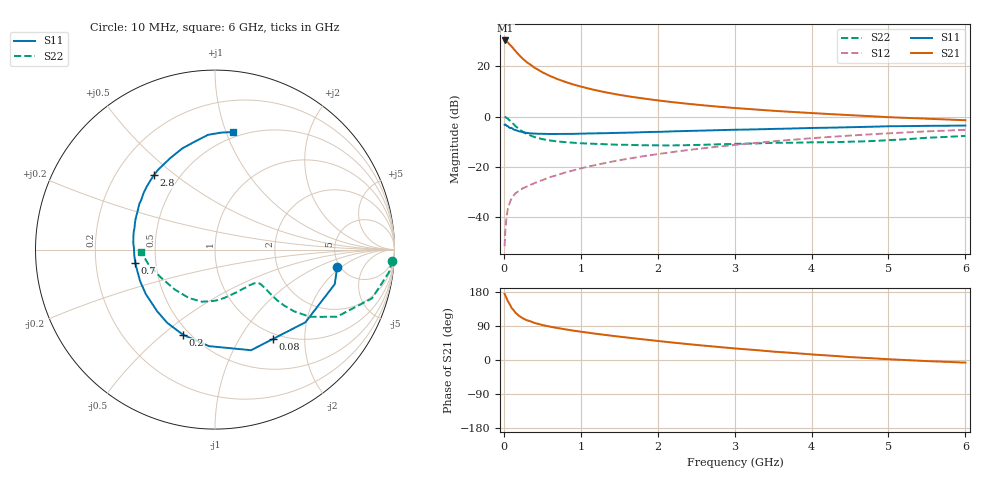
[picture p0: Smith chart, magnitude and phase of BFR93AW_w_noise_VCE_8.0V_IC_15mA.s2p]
! (c) 2017  Infineon Technologies AG, Munich
! Infineon Technologies  Discrete & RF Semiconductors
! BFR93AW
! VCE =  8.0 V,  IC =  15 mA
! Common Emitter S-Parameters:  Jan 2017
# GHz  S  MA  R  50
!  f  S11  S21  S12  S22
! GHz  MAG  ANG  MAG  ANG  MAG  ANG  MAG  ANG
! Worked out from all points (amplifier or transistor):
!   77 points, 10 MHz to 6 GHz, reference 50 ohm
!   highest |S21| = 30.4 dB at 20 MHz (marker M1)
!   |S21| within 3 dB of that: start of sweep to 118.1 MHz
!   unconditionally stable (mu >= 1): 770.5 MHz to 2.081 GHz
!   at 130 MHz: K = 0.37, MSG = 29.1 dB, |S12| = -31.4 dB
!   at 2.2 GHz: K = 0.99, MSG = 9.9 dB, |S12| = -14.1 dB
!   at 6 GHz: K = 0.86, MSG = 1.9 dB, |S12| = -5.3 dB
!   lowest NFmin = 1.37 dB at 450 MHz
!   S11 on the Smith chart (normalised r, x): 10 MHz: 4.74, -1.74; 80 MHz: 0.92, -1.41; 200 MHz: 0.46, -0.59; 700 MHz: 0.38, -0.07; 2.8 GHz: 0.36, +0.42; 6 GHz: 0.45, +1.06
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0.01  0.6876 -8.1  32.97 174.5  0.0026 84.9  0.9889 -3.6
0.02  0.6944 -16.1  32.97 169.9  0.0055 90.1  0.9776 -7.4
0.05  0.6464 -38.8  30.44 155.9  0.0139 72.7  0.9155 -17.3
0.08  0.5933 -57.1  26.95 145.8  0.0196 65.8  0.8265 -23.8
0.1  0.5955 -70.3  25.21 137.6  0.0235 63.1  0.7742 -28.9
0.15  0.5389 -93.6  20.39 125.0  0.0293 58.1  0.6484 -35.3
0.2  0.5069 -110.6  16.76 116.2  0.0333 56.0  0.5577 -38.0
0.25  0.4871 -123.2  14.1 109.6  0.0373 54.9  0.494 -39.0
0.3  0.4712 -133.1  12.08 104.9  0.0403 54.7  0.4466 -39.2
0.4  0.4584 -147.1  9.409 97.7  0.0471 57.8  0.3888 -38.5
0.5  0.4529 -157.2  7.646 92.3  0.0539 59.8  0.3548 -37.7
0.6  0.4489 -164.7  6.456 88.0  0.0618 61.4  0.3334 -37.3
0.7  0.4502 -170.8  5.569 84.3  0.0686 63.9  0.3188 -37.1
0.9  0.4515 179.1  4.376 77.6  0.0843 65.2  0.3006 -38.2
1.1  0.46 171.3  3.628 72.0  0.1009 66.5  0.2897 -40.4
1.5  0.4739 159.1  2.716 61.7  0.1341 66.7  0.2742 -47.7
2.1  0.5008 144.0  2.016 48.1  0.1873 64.6  0.2662 -63.8
2.8  0.5363 129.5  1.571 34.2  0.2526 60.1  0.2801 -85.0
3.1  0.5489 123.7  1.445 29.0  0.2814 57.5  0.2869 -93.4
4.1  0.5958 106.4  1.152 13.4  0.3794 48.0  0.3062 -121.8
5.1  0.6424 92.2  0.959 1.1  0.4717 36.7  0.3445 -155.4
6  0.6624 81.3  0.845 -6.9  0.5443 26.2  0.4121 -178.2
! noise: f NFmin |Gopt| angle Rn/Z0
0.45  1.37  0.12  133  0.13
0.9  1.66  0.23  164  0.14
1.9  2.67  0.47  -144  0.2
2.4  3.3  0.54  -129  0.4
